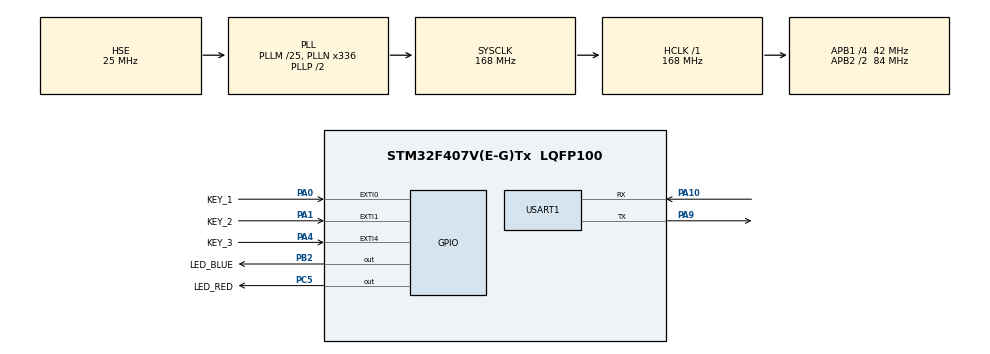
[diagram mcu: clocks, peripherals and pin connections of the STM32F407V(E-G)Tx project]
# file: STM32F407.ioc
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Mcu.Family=STM32F4
Mcu.Name=STM32F407V(E-G)Tx
Mcu.Package=LQFP100
NVIC.EXTI0_IRQn=true\:0\:0\:false\:false\:true\:true\:true\:true
NVIC.EXTI1_IRQn=true\:0\:0\:false\:false\:true\:true\:true\:true
NVIC.EXTI4_IRQn=true\:0\:0\:false\:false\:true\:true\:true\:true
NVIC.PriorityGroup=NVIC_PRIORITYGROUP_4
PA0-WKUP.GPIO_Label=KEY_1
PA0-WKUP.GPIO_ModeDefaultEXTI=GPIO_MODE_IT_RISING
PA0-WKUP.GPIO_PuPd=GPIO_PULLDOWN
PA0-WKUP.Signal=GPXTI0
PA1.GPIO_Label=KEY_2
PA1.GPIO_ModeDefaultEXTI=GPIO_MODE_IT_FALLING
PA1.GPIO_PuPd=GPIO_PULLUP
PA1.Signal=GPXTI1
PA10.Mode=Asynchronous
PA10.Signal=USART1_RX
PA13.Mode=Serial_Wire
PA13.Signal=SYS_JTMS-SWDIO
PA14.Mode=Serial_Wire
PA14.Signal=SYS_JTCK-SWCLK
PA4.GPIO_Label=KEY_3
PA4.GPIO_ModeDefaultEXTI=GPIO_MODE_IT_FALLING
PA4.GPIO_PuPd=GPIO_PULLUP
PA4.Signal=GPXTI4
PA9.Mode=Asynchronous
PA9.Signal=USART1_TX
PB2.GPIO_Label=LED_BLUE
PB2.Signal=GPIO_Output
PC5.GPIO_Label=LED_RED
PC5.Signal=GPIO_Output
PH0-OSC_IN.Mode=HSE-External-Oscillator
PH0-OSC_IN.Signal=RCC_OSC_IN
PH1-OSC_OUT.Mode=HSE-External-Oscillator
PH1-OSC_OUT.Signal=RCC_OSC_OUT
ProjectManager.HeapSize=0x200
ProjectManager.StackSize=0x1000
ProjectManager.TargetToolchain=MDK-ARM V5.32
RCC.48MHZClocksFreq_Value=84000000
RCC.AHBFreq_Value=168000000
RCC.APB1CLKDivider=RCC_HCLK_DIV4
RCC.APB1Freq_Value=42000000
RCC.APB1TimFreq_Value=84000000
RCC.APB2CLKDivider=RCC_HCLK_DIV2
RCC.APB2Freq_Value=84000000
RCC.APB2TimFreq_Value=168000000
RCC.CortexFreq_Value=168000000
RCC.HCLKFreq_Value=168000000
RCC.HSE_VALUE=25000000
RCC.HSI_VALUE=16000000
RCC.LSE_VALUE=32768
RCC.PLLM=25
RCC.PLLN=336
RCC.PLLSourceVirtual=RCC_PLLSOURCE_HSE
RCC.SYSCLKFreq_VALUE=168000000
RCC.SYSCLKSource=RCC_SYSCLKSOURCE_PLLCLK
RCC.VCOOutputFreq_Value=336000000
USART1.VirtualMode=VM_ASYNC
board=custom

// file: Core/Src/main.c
/* USER CODE BEGIN Header */
/***********************************************************************************************************************************
 ** 【代码编写】  魔女开发板团队
 ** 【淘    宝】  魔女开发板 1      https://demoboard.taobao.com
 ***********************************************************************************************************************************
 ** 【实验名称】  2.8寸_显示综合 + UART2_IMU接入
 **
 ** 【适用平台】  STM32F407 + keil5 + HAL库
 **
 ** 【 CubeMX 】  1- 无需使用CubeMX配置引脚
 **
 ** 【移植说明】  1- 复制本工程的LCD_ILI9341和W25Q128文件夹，到目标工程文件夹中;
 **               2- 添加头文件路径： Keil > Option > C/C++ > Include Paths, 添加上述两个目标文件夹的目录路径;
 **               3- 添加C文件到工程: Keil > 左侧工程管理器中双击目标文件夹 > 选择 bsp_LCD_ILI9341.c和bsp_W25Q128.c;
 **               4- 添加文件引用:    #include bsp_LCD_ILI9341.h，即哪个文件中需要使用其函数功能，就在其代码文件顶部添加引用;
 **
 ** 【代码使用】  1- 初始化：直接调用h中函数即可完成初始化。
 **               2- 文本的输出，已编写4种示范函数，可按需自行编写、修改;
 **               3- 画线画圆等图形基本函数，已编写示范函数，可在此基础上，按需编写更完善的图形函数，如显示图片、绘制按钮等.
 **
 **
 **
 *******************************************************************************/
/* USER CODE END Header */
#include "main.h"
#include "usart.h"
#include "gpio.h"

/* USER CODE BEGIN Includes */
/* 所有用户代码，必须写在配对的BEGIN与END注释行之间，否则重新生成时会被删除 */

#include "bsp_W25Q128.h"
#include "bsp_LCD_ILI9341.h"
#include "bsp_XPT2046.h"
#include "bsp_UART.h"
#include <math.h>

/* USER CODE END Includes */

void SystemClock_Config(void);

/* USER CODE BEGIN 0 */
/* ================= IMU: DFRobot SEN0692 (Modbus-RTU over UART2) ==============
 * addr 0x4A, 115200-8-N-1 (migrated from 9600 at boot, reg 0x0003); fn 0x04 read 3 words
 * accel reg 0x0006, scale +/-2g  -> 16384 LSB/g  (module current range)
 * gyro  reg 0x0009, scale +/-250dps -> 65.536 LSB/dps
 * resp frame: 4A 04 06 D0 D1 D2 D3 D4 D5 CRC_L CRC_H  (11 bytes, big-endian int16)
 ******************************************************************************/
#define IMU_ADDR            0x4A
#define IMU_REG_ACC         0x0006
#define IMU_REG_GYR         0x0009
#define IMU_ACC_LSB_PER_G   16384.0f
#define IMU_GYR_LSB_PER_DPS 65.536f

static float   imuAcc[3] = {0};                    // g
static float   imuGyr[3] = {0};                    // dps
static uint8_t imuAccOK = 0, imuGyrOK = 0;
static uint16_t imuErrCnt = 0;
static uint8_t  imuBaud115 = 1;                 // 1: link at 115200, 0: fell back to 9600
static float   imuRoll = 0, imuPitch = 0;         // deg, complementary filter
static uint8_t imuAttInit = 0;                     // 0: seed from accelerometer on next update

static uint16_t IMU_CRC16(const uint8_t *buf, uint8_t len)
{
    uint16_t crc = 0xFFFF;
    for (uint8_t i = 0; i < len; i++)
    {
        crc ^= buf[i];
        for (uint8_t b = 0; b < 8; b++)
        {
            if (crc & 0x0001) { crc >>= 1; crc ^= 0xA001; }
            else              { crc >>= 1; }
        }
    }
    return crc;                                    // wire order: low byte first
}

/* One-shot module baud migration: write reg 0x0003 with an out-of-table value.
 * Per DFRobot wiki, values outside the 8-entry table fall back to 115200 (persisted).
 * Called while MCU runs at 9600; if the module is already at 115200 the frame is
 * garbage to it and the wait simply times out - harmless and idempotent. */
static void IMU_SetBaud115200(void)
{
    uint8_t f[8];
    f[0] = IMU_ADDR;
    f[1] = 0x06;                                   // write single holding register
    f[2] = 0x00;
    f[3] = 0x03;                                   // reg 0x0003: baud rate config
    f[4] = 0x00;
    f[5] = 0xFF;                                   // out-of-table -> module uses 115200
    uint16_t crc = IMU_CRC16(f, 6);
    f[6] = (uint8_t)(crc & 0xFF);
    f[7] = (uint8_t)(crc >> 8);
    UART2_ClearRx();
    UART2_SendData(f, 8);
    HAL_Delay(300);                                // module saves config to flash
    UART2_ClearRx();                               // drop any 9600-speed ack bytes
}

static void IMU_SendQuery(uint16_t reg)
{
    uint8_t f[8];
    f[0] = IMU_ADDR;
    f[1] = 0x04;                                   // read input registers
    f[2] = (uint8_t)(reg >> 8);
    f[3] = (uint8_t)(reg & 0xFF);
    f[4] = 0x00;
    f[5] = 0x03;                                   // 3 words (X/Y/Z)
    uint16_t crc = IMU_CRC16(f, 6);
    f[6] = (uint8_t)(crc & 0xFF);
    f[7] = (uint8_t)(crc >> 8);
    UART2_ClearRx();
    UART2_SendData(f, 8);
}

static uint8_t IMU_Parse(float out[3], float lsb)
{
    uint8_t *p = UART2_GetRxData();
    if (UART2_GetRxNum() != 11)        return 0;
    if (p[0] != IMU_ADDR)              return 0;
    if (p[1] != 0x04 || p[2] != 0x06)  return 0;
    uint16_t crc = IMU_CRC16(p, 9);
    if (p[9] != (uint8_t)(crc & 0xFF) || p[10] != (uint8_t)(crc >> 8)) return 0;
    for (uint8_t k = 0; k < 3; k++)
    {
        int16_t raw = (int16_t)((p[3 + 2 * k] << 8) | p[4 + 2 * k]);
        out[k] = (float)raw / lsb;
    }
    return 1;
}

/* fixed-width text "TAG:-123.456UNIT", integer math only (no %f, MicroLIB safe) */
/* Probe: read VID (input reg 0x0000, expect 0x3343 per wiki). */
static uint8_t IMU_Probe(uint8_t tries)
{
    uint8_t f[8];
    f[0] = IMU_ADDR;
    f[1] = 0x04;
    f[2] = 0x00;
    f[3] = 0x00;                               // input reg 0x0000: VID
    f[4] = 0x00;
    f[5] = 0x01;                               // 1 word
    uint16_t crc = IMU_CRC16(f, 6);
    f[6] = (uint8_t)(crc & 0xFF);
    f[7] = (uint8_t)(crc >> 8);
    for (uint8_t t = 0; t < tries; t++)
    {
        UART2_ClearRx();
        UART2_SendData(f, 8);
        for (uint32_t w = 0; w < 30; w++)       // 30ms window per try
        {
            HAL_Delay(1);
            if (UART2_GetRxNum())
            {
                uint8_t *p = UART2_GetRxData();
                uint8_t n = UART2_GetRxNum();
                uint16_t c = IMU_CRC16(p, 5);
                uint8_t ok = (n == 7) && (p[0] == IMU_ADDR) && (p[1] == 0x04) && (p[2] == 0x02)
                          && (p[3] == 0x33) && (p[4] == 0x43)
                          && (p[5] == (uint8_t)c) && (p[6] == (uint8_t)(c >> 8));
                UART2_ClearRx();
                if (ok) return 1;
            }
        }
    }
    UART2_ClearRx();
    return 0;
}

static void IMU_Format(char *s, const char *tag, float val, uint8_t dec3)
{
    int32_t m = (int32_t)(val * 1000.0f + (val >= 0 ? 0.5f : -0.5f));
    uint8_t neg = (m < 0) ? 1 : 0;
    if (neg) m = -m;
    if (dec3)
        sprintf(s, "%s:%c%ld.%03ld", tag, neg ? '-' : ' ', (long)(m / 1000), (long)(m % 1000));
    else
        sprintf(s, "%s:%c%ld.%01ld", tag, neg ? '-' : ' ', (long)(m / 1000), (long)((m % 1000) / 100));
}

static void IMU_Display(void)
{
    char s[24];
    if (imuAccOK)
    {
        IMU_Format(s, "AX", imuAcc[0], 1); LCD_String(10,  40, s, 16, GREEN, BLACK);
        IMU_Format(s, "AY", imuAcc[1], 1); LCD_String(10,  62, s, 16, GREEN, BLACK);
        IMU_Format(s, "AZ", imuAcc[2], 1); LCD_String(10,  84, s, 16, GREEN, BLACK);
    }
    if (imuGyrOK)
    {
        IMU_Format(s, "GX", imuGyr[0], 0); LCD_String(10, 116, s, 16, CYAN, BLACK);
        IMU_Format(s, "GY", imuGyr[1], 0); LCD_String(10, 138, s, 16, CYAN, BLACK);
        IMU_Format(s, "GZ", imuGyr[2], 0); LCD_String(10, 160, s, 16, CYAN, BLACK);
    }
    if (imuAttInit)
    {
        IMU_Format(s, "ROL", imuRoll,  0); LCD_String(10, 184, s, 16, YELLOW, BLACK);
        IMU_Format(s, "PIT", imuPitch, 0); LCD_String(10, 206, s, 16, YELLOW, BLACK);
    }
    if (imuErrCnt > 15)
        LCD_String(10, 232, "IMU: OFFLINE  ", 16, RED, BLACK);
    else if (imuBaud115)
        LCD_String(10, 232, "IMU: OK 115200", 16, YELLOW, BLACK);
    else
        LCD_String(10, 232, "IMU: OK 9600  ", 16, YELLOW, BLACK);
}
/* 所有用户代码，必须写在配对的BEGIN与END注释行之间，否则重新生成时会被删除 */

/* USER CODE END 0 */

int main(void)
{

    /* MCU Configuration--------------------------------------------------------*/

    /* Reset of all peripherals, Initializes the Flash interface and the Systick. */
    HAL_Init();

    /* Configure the system clock */
    SystemClock_Config();

    /* Initialize all configured peripherals */
    MX_GPIO_Init();
    MX_USART1_UART_Init();
    /* USER CODE BEGIN 2 */
    /* 所有用户代码，必须写在配对的BEGIN与END注释行之间，否则重新生成时会被删除 */

    UART1_Init(115200);
    UART2_Init(9600);                                                          // SEN0692 factory default
    IMU_SetBaud115200();                                                       // one-shot: move module to 115200 (idempotent)
    UART2_Init(115200);                                                        // UART2: IMU SEN0692 (PA2-TX, PA3-RX, Modbus-RTU)
    if (!IMU_Probe(3))                          // no valid reply at 115200
    {
        UART2_Init(9600);                       // migration failed: stay at 9600
        imuBaud115 = 0;
        IMU_Probe(2);
    }

    printf("\r\r\r=========== STM32F407 板卡上电初始化完成 ===========\r");             // 注意，printf函数，必须重定向后才能使用，否则程序会卡死; 本示例已重写fputc, 在main.c的底部附近
    printf("系统运行时钟：           %d MHz\r", SystemCoreClock / 1000000);       // 输出系统运行时钟的频率，以检查是否配置正常

    HAL_GPIO_WritePin(LED_RED_GPIO_Port, LED_RED_Pin, GPIO_PIN_SET);              // LED控制引脚置高电平，红亮灭

    W25Q128_Init();                                                               // W25Q128 初始化

    LCD_Init();                                                                   // LCD ILI9341 初始化
    LCD_SetDir(0);                                                                // 设置显示方向：0-竖屏、1-横屏

    // 顶部标题
    LCD_String(5, 5, "STM32F407", 16, GREEN, BLACK);

    /* USER CODE END 2 */

    /* Infinite loop */
    while (1)
    {

        /* USER CODE BEGIN 3 */
        /* 所有用户代码，必须写在配对的BEGIN与END注释行之间，否则重新生成时会被删除 */

        /** 1ms延时 **/
        HAL_Delay(1 - 1);                                                  // 延时函数，参数：ms; 注意：CubeMX生成的HAL_Delay(), 函数内部为避免无效操作，会对传入参数+1，因此，如果只需要几ms延时建议传入参数时-1，如果需要大几百ms的非精准延时，那参数不-1也影响不大

        /** 触摸检查 **/
        //XPT2046_TouchHandler();                                            // 触摸屏状态检测：1:检测是否有按下，2:如果有按下，就处理好按下的坐标

        /** 检查UART1是否收到数据 (串口助手) **/
        if (UART1_GetRxNum())                                              // 判断UART1是否获取到新一帧数据：函数返回的接收字节数，大于0，即为收到新一帧数据
        {
            uint8_t *rxData = UART1_GetRxData();                           // 获取数据的地址
            uint16_t rxNum = UART1_GetRxNum();                             // 获取数据的字节数
            printf("\r<<<<< UART1 接收到一帧数据 \r");                     // 提示UART1接收到数据
            printf("字节数：%d \r", rxNum);                                // 显示字节数
            printf("ASCII : %s\r", (char *)rxData);                        // 显示数据，以ASCII方式显示，即以字符串的方式显示
            printf("16进制: ");                                            // 显示数据，以16进制方式，显示每一个字节的值
            for (uint16_t i = 0; i < rxNum; i++)                           // 逐个字节输出
                printf("0x%02X ", rxData[i]);                              // 以16进制显示
            printf("\r\r");                                                // 显示换行
            UART1_ClearRx();                                               // 重要：清0接收标志，即清0接收到的字节数; 每次处理完成数据，就要调用这个函数清0

            // UART1_SendString("Hello World！\r");                        // 示范 UART1_SendString( )的使用; 可接受像pritnf的格式化参数
            // UART1_SendData((uint8_t*)"Hello World!\r", 13);             // 示范 UART1_SendData( )的使用, 可用于发送字符串、数组、结构体数据等
        }

        /** 每500ms闪烁一次蓝色LED **/
        /** IMU: SEN0692 Modbus-RTU poll state machine (UART2 @9600) **/
        static uint8_t  imuPhase = 0;              // 0-idle 1-waitAcc 2-waitGyr
        static uint16_t imuTickMs = 0, imuWaitMs = 0;
        imuTickMs++;
        if (imuPhase == 0)
        {
            if (imuTickMs >= 30)                   // poll cycle ~30ms (~33Hz)
            {
                imuTickMs = 0;
                IMU_SendQuery(IMU_REG_ACC);
                imuPhase = 1;
                imuWaitMs = 0;
            }
        }
        else if (++imuWaitMs > 60)                 // 60ms response timeout
        {
            UART2_ClearRx();
            imuErrCnt++;
            imuPhase = 0;
        }
        else if (UART2_GetRxNum())
        {
            if (imuPhase == 1)
            {
                imuAccOK = IMU_Parse(imuAcc, IMU_ACC_LSB_PER_G);
                IMU_SendQuery(IMU_REG_GYR);
                imuPhase = 2;
                imuWaitMs = 0;
            }
            else
            {
                imuGyrOK = IMU_Parse(imuGyr, IMU_GYR_LSB_PER_DPS);
                imuPhase = 0;
                imuTickMs = 0;
                if (imuAccOK || imuGyrOK) imuErrCnt = 0; else imuErrCnt++;
                /* attitude: complementary filter, acc angle + gyro integration */
                {
                    float aR = atan2(imuAcc[1], imuAcc[2]) * 57.2958f;
                    float aP = atan2(-imuAcc[0], sqrt(imuAcc[1] * imuAcc[1] + imuAcc[2] * imuAcc[2])) * 57.2958f;
                    if (!imuAttInit) { imuRoll = aR; imuPitch = aP; imuAttInit = 1; }
                    imuRoll  = 0.98f * (imuRoll  + imuGyr[0] * 0.03f) + 0.02f * aR;
                    imuPitch = 0.98f * (imuPitch + imuGyr[1] * 0.03f) + 0.02f * aP;
                }
            }
        }

        /** IMU display: refresh at 10Hz regardless of link state **/
        static uint16_t imuDispMs = 0;
        if (++imuDispMs >= 100)
        {
            imuDispMs = 0;
            IMU_Display();
        }

        static uint16_t msLED = 0;
        if (++msLED == 500)                                                // 每500ms执行一次
        {
            msLED = 0;                                                     // 计数清0
            HAL_GPIO_TogglePin(LED_BLUE_GPIO_Port, LED_BLUE_Pin);          // 规律地闪烁蓝色LED，方便外部观察系统是否正常运行
        }

    }
    /* USER CODE END 3 */
}

void SystemClock_Config(void)
{
    RCC_OscInitTypeDef RCC_OscInitStruct = {0};
    RCC_ClkInitTypeDef RCC_ClkInitStruct = {0};

    /** Configure the main internal regulator output voltage
    */
    __HAL_RCC_PWR_CLK_ENABLE();
    __HAL_PWR_VOLTAGESCALING_CONFIG(PWR_REGULATOR_VOLTAGE_SCALE1);

    /** Initializes the RCC Oscillators according to the specified parameters
    * in the RCC_OscInitTypeDef structure.
    */
    RCC_OscInitStruct.OscillatorType = RCC_OSCILLATORTYPE_HSE;
    RCC_OscInitStruct.HSEState = RCC_HSE_ON;
    RCC_OscInitStruct.PLL.PLLState = RCC_PLL_ON;
    RCC_OscInitStruct.PLL.PLLSource = RCC_PLLSOURCE_HSE;
    RCC_OscInitStruct.PLL.PLLM = 25;
    RCC_OscInitStruct.PLL.PLLN = 336;
    RCC_OscInitStruct.PLL.PLLP = RCC_PLLP_DIV2;
    RCC_OscInitStruct.PLL.PLLQ = 4;
    if (HAL_RCC_OscConfig(&RCC_OscInitStruct) != HAL_OK)
    {
        Error_Handler();
    }

    /** Initializes the CPU, AHB and APB buses clocks
    */
    RCC_ClkInitStruct.ClockType = RCC_CLOCKTYPE_HCLK | RCC_CLOCKTYPE_SYSCLK
                                  | RCC_CLOCKTYPE_PCLK1 | RCC_CLOCKTYPE_PCLK2;
    RCC_ClkInitStruct.SYSCLKSource = RCC_SYSCLKSOURCE_PLLCLK;
    RCC_ClkInitStruct.AHBCLKDivider = RCC_SYSCLK_DIV1;
    RCC_ClkInitStruct.APB1CLKDivider = RCC_HCLK_DIV4;
    RCC_ClkInitStruct.APB2CLKDivider = RCC_HCLK_DIV2;

    if (HAL_RCC_ClockConfig(&RCC_ClkInitStruct, FLASH_LATENCY_5) != HAL_OK)
    {
        Error_Handler();
    }
}

/* USER CODE BEGIN 4 */
/* 所有用户代码，必须写在配对的BEGIN与END注释行之间，否则重新生成时会被删除 */

/******************************************************************************
 * 函  数： HAL_GPIO_EXTI_Callback
 * 功  能： EXTI中断回调函数
 * 参  数： uint16_t  GPIO_Pin    引脚编号，参数范围：GPIO_Pin_0 ~ GPIO_Pin_15
 * 返回值： 无
 * 备  注： CubeMX生成的代码在思维和风格上，与使用标准库编写时有很大的区别：
 *          1：这个是回调函数，不是中断服务函数。完整的调用：EXTIx_IRQHandler() > HAL_GPIO_EXTI_IRQHandler(GPIO_PIN_x) > HAL_GPIO_EXTI_Callback(GPIO_PIN_x)
 *          2：必须使用这个函数名称，因为它在CubeMX生成时，已被写好了各种函数调用、函数弱定义(在stm32xx_hal_gpio.c的底部); 不建议在原弱定义中增添代码，而是重写本函数
 *          3：中断条件触发后，本函数被自动调用，无需进行人工调用; 也无需进行中断标志的清理，因为HAL_GPIO_EXTI_IRQHandler()函数中已有操作;
 *          4：生成的所有EXTI中断服务函数，都统一调用这个函数，以引脚编号作参数
 *          5：判断参数传进来的引脚编号，即可知道是哪个外部中断线产生的中断信号
******************************************************************************/
void HAL_GPIO_EXTI_Callback(uint16_t GPIO_Pin)
{
    if (GPIO_Pin == KEY_1_Pin)                                  // 按键1 产生的中断信号：KEY_1、PA0、闲时下拉、按下时高电平、上升沿触发
    {
        HAL_GPIO_TogglePin(LED_RED_GPIO_Port, LED_RED_Pin);     // 反转红色LED灯
        printf("KEY_1 按下\r");                                 // 通过串口助手输出提示
    }

    if (GPIO_Pin == KEY_2_Pin)                                  // 按键2 产生的中断信号：KEY_2、PA1、闲时上拉、按下时低电平、下降沿触发
    {
        HAL_GPIO_TogglePin(LED_RED_GPIO_Port, LED_RED_Pin);     // 反转红色LED灯
        printf("KEY_2 按下\r");                                 // 通过串口助手输出提示
    }

    if (GPIO_Pin == KEY_3_Pin)                                  // 按键3 产生的中断信号：KEY_3、PA4、闲时上拉、按下低高电平、下降沿触发
    {
        HAL_GPIO_TogglePin(LED_RED_GPIO_Port, LED_RED_Pin);     // 反转红色LED灯
        printf("KEY_3 按下\r");                                 // 通过串口助手输出提示
    }
}

/* 所有用户代码，必须写在配对的BEGIN与END注释行之间，否则重新生成时会被删除 */
/* USER CODE END 4 */

void Error_Handler(void)
{
    __disable_irq();
    while (1)
    {
    }
}
